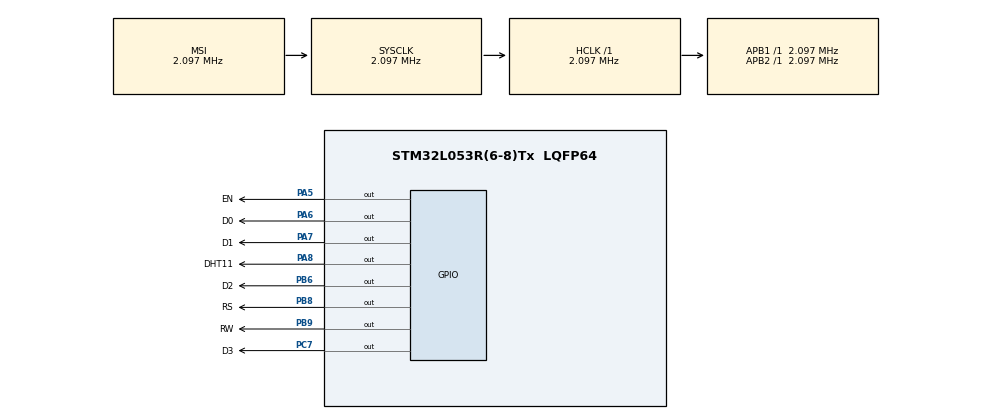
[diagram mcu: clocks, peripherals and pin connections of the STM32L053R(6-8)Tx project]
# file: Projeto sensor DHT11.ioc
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Mcu.Family=STM32L0
Mcu.Name=STM32L053R(6-8)Tx
Mcu.Package=LQFP64
PA5.GPIO_Label=EN
PA5.Signal=GPIO_Output
PA6.GPIO_Label=D0
PA6.Signal=GPIO_Output
PA7.GPIO_Label=D1
PA7.Signal=GPIO_Output
PA8.GPIO_Label=DHT11
PA8.Signal=GPIO_Output
PB6.GPIO_Label=D2
PB6.Signal=GPIO_Output
PB8.GPIO_Label=RS
PB8.Signal=GPIO_Output
PB9.GPIO_Label=RW
PB9.Signal=GPIO_Output
PC7.GPIO_Label=D3
PC7.Signal=GPIO_Output
ProjectManager.HeapSize=0x200
ProjectManager.StackSize=0x400
ProjectManager.TargetToolchain=STM32CubeIDE
RCC.AHBFreq_Value=2097000
RCC.APB1Freq_Value=2097000
RCC.APB1TimFreq_Value=2097000
RCC.APB2Freq_Value=2097000
RCC.APB2TimFreq_Value=2097000
RCC.HSE_VALUE=8000000
RCC.HSI16_VALUE=16000000
RCC.HSI48_VALUE=48000000
RCC.HSI_VALUE=16000000
RCC.MSI_VALUE=2097000
RCC.SYSCLKFreq_VALUE=2097000
RCC.VCOOutputFreq_Value=48000000
TIM6.Period=0xFFFF-1
TIM6.Prescaler=8-1
VP_TIM6_VS_ClockSourceINT.Mode=Enable_Timer
board=NUCLEO-L053R8

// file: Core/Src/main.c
/* USER CODE BEGIN Header */
/**
  ******************************************************************************
  * @file           : main.c
  * @brief          : Main program body
  ******************************************************************************
  * @attention
  *
  * Copyright (c) 2025 STMicroelectronics.
  * All rights reserved.
  *
  * This software is licensed under terms that can be found in the LICENSE file
  * in the root directory of this software component.
  * If no LICENSE file comes with this software, it is provided AS-IS.
  *
  ******************************************************************************
  */
/* USER CODE END Header */
#include "main.h"

/* USER CODE BEGIN PTD */
typedef struct{
	unsigned P0: 1,
			 P1: 1,
			 P2: 1,
			 P3: 1,
			 P4: 1,
			 P5: 1,
			 P6: 1,
			 P7: 1;
}PORT;
/* USER CODE END PTD */

TIM_HandleTypeDef htim6;

/* USER CODE BEGIN PV */
PORT bit;
uint32_t tempResult, umidResult;

/* USER CODE END PV */

void SystemClock_Config(void);
static void MX_GPIO_Init(void);
static void MX_TIM6_Init(void);
/* USER CODE BEGIN PFP */
void DHTExitSet(void);
void DHTInputSet(void);

void StartLCD(void);
void DataManager(int data, int rs);
void MessageManager(char * message);
void DHTInterpreter(void);

/* USER CODE END PFP */

int main(void)
{

  /* MCU Configuration--------------------------------------------------------*/

  /* Reset of all peripherals, Initializes the Flash interface and the Systick. */
  HAL_Init();

  /* Configure the system clock */
  SystemClock_Config();

  /* Initialize all configured peripherals */
  MX_GPIO_Init();
  MX_TIM6_Init();
  /* USER CODE BEGIN 2 */
  HAL_TIM_Base_Start(&htim6);
  StartLCD();
  /* USER CODE END 2 */

  /* Infinite loop */
  /* USER CODE BEGIN WHILE */
  while (1){
	  MessageManager("Hello world!");
      DataManager(0x80, 0);
      DHTInterpreter();

    /* USER CODE END WHILE */

  }
}

void SystemClock_Config(void)
{
  RCC_OscInitTypeDef RCC_OscInitStruct = {0};
  RCC_ClkInitTypeDef RCC_ClkInitStruct = {0};

  /** Configure the main internal regulator output voltage
  */
  __HAL_PWR_VOLTAGESCALING_CONFIG(PWR_REGULATOR_VOLTAGE_SCALE1);

  /** Initializes the RCC Oscillators according to the specified parameters
  * in the RCC_OscInitTypeDef structure.
  */
  RCC_OscInitStruct.OscillatorType = RCC_OSCILLATORTYPE_MSI;
  RCC_OscInitStruct.MSIState = RCC_MSI_ON;
  RCC_OscInitStruct.MSICalibrationValue = 0;
  RCC_OscInitStruct.MSIClockRange = RCC_MSIRANGE_5;
  RCC_OscInitStruct.PLL.PLLState = RCC_PLL_NONE;
  if (HAL_RCC_OscConfig(&RCC_OscInitStruct) != HAL_OK)
  {
    Error_Handler();
  }

  /** Initializes the CPU, AHB and APB buses clocks
  */
  RCC_ClkInitStruct.ClockType = RCC_CLOCKTYPE_HCLK|RCC_CLOCKTYPE_SYSCLK
                              |RCC_CLOCKTYPE_PCLK1|RCC_CLOCKTYPE_PCLK2;
  RCC_ClkInitStruct.SYSCLKSource = RCC_SYSCLKSOURCE_MSI;
  RCC_ClkInitStruct.AHBCLKDivider = RCC_SYSCLK_DIV1;
  RCC_ClkInitStruct.APB1CLKDivider = RCC_HCLK_DIV1;
  RCC_ClkInitStruct.APB2CLKDivider = RCC_HCLK_DIV1;

  if (HAL_RCC_ClockConfig(&RCC_ClkInitStruct, FLASH_LATENCY_0) != HAL_OK)
  {
    Error_Handler();
  }
}

static void MX_TIM6_Init(void)
{

  TIM_MasterConfigTypeDef sMasterConfig = {0};

  htim6.Instance = TIM6;
  htim6.Init.Prescaler = 8-1;
  htim6.Init.CounterMode = TIM_COUNTERMODE_UP;
  htim6.Init.Period = 0xFFFF-1;
  htim6.Init.AutoReloadPreload = TIM_AUTORELOAD_PRELOAD_DISABLE;
  if (HAL_TIM_Base_Init(&htim6) != HAL_OK)
  {
    Error_Handler();
  }
  sMasterConfig.MasterOutputTrigger = TIM_TRGO_RESET;
  sMasterConfig.MasterSlaveMode = TIM_MASTERSLAVEMODE_DISABLE;
  if (HAL_TIMEx_MasterConfigSynchronization(&htim6, &sMasterConfig) != HAL_OK)
  {
    Error_Handler();
  }

}

static void MX_GPIO_Init(void)
{
  GPIO_InitTypeDef GPIO_InitStruct = {0};

  /* GPIO Ports Clock Enable */
  __HAL_RCC_GPIOA_CLK_ENABLE();
  __HAL_RCC_GPIOC_CLK_ENABLE();
  __HAL_RCC_GPIOB_CLK_ENABLE();

  /*Configure GPIO pin Output Level */
  HAL_GPIO_WritePin(GPIOA, EN_Pin|D0_Pin|D1_Pin|DHT11_Pin, GPIO_PIN_RESET);

  /*Configure GPIO pin Output Level */
  HAL_GPIO_WritePin(D3_GPIO_Port, D3_Pin, GPIO_PIN_RESET);

  /*Configure GPIO pin Output Level */
  HAL_GPIO_WritePin(GPIOB, D2_Pin|RS_Pin|RW_Pin, GPIO_PIN_RESET);

  /*Configure GPIO pins : EN_Pin D0_Pin D1_Pin DHT11_Pin */
  GPIO_InitStruct.Pin = EN_Pin|D0_Pin|D1_Pin|DHT11_Pin;
  GPIO_InitStruct.Mode = GPIO_MODE_OUTPUT_PP;
  GPIO_InitStruct.Pull = GPIO_NOPULL;
  GPIO_InitStruct.Speed = GPIO_SPEED_FREQ_LOW;
  HAL_GPIO_Init(GPIOA, &GPIO_InitStruct);

  /*Configure GPIO pin : D3_Pin */
  GPIO_InitStruct.Pin = D3_Pin;
  GPIO_InitStruct.Mode = GPIO_MODE_OUTPUT_PP;
  GPIO_InitStruct.Pull = GPIO_NOPULL;
  GPIO_InitStruct.Speed = GPIO_SPEED_FREQ_LOW;
  HAL_GPIO_Init(D3_GPIO_Port, &GPIO_InitStruct);

  /*Configure GPIO pins : D2_Pin RS_Pin RW_Pin */
  GPIO_InitStruct.Pin = D2_Pin|RS_Pin|RW_Pin;
  GPIO_InitStruct.Mode = GPIO_MODE_OUTPUT_PP;
  GPIO_InitStruct.Pull = GPIO_NOPULL;
  GPIO_InitStruct.Speed = GPIO_SPEED_FREQ_LOW;
  HAL_GPIO_Init(GPIOB, &GPIO_InitStruct);

}

/* USER CODE BEGIN 4 */
void DataManager(int data, int rs){
	bit.P0 = (data >> 0) & 1;
	bit.P1 = (data >> 1) & 1;
	bit.P2 = (data >> 2) & 1;
	bit.P3 = (data >> 3) & 1;
	bit.P4 = (data >> 4) & 1;
	bit.P5 = (data >> 5) & 1;
	bit.P6 = (data >> 6) & 1;
	bit.P7 = (data >> 7) & 1;

	HAL_GPIO_WritePin(RS_GPIO_Port, RS_Pin, rs);
	HAL_GPIO_WritePin(RW_GPIO_Port, RW_Pin, RESET);

	HAL_GPIO_WritePin(D0_GPIO_Port, D0_Pin, bit.P4);
	HAL_GPIO_WritePin(D1_GPIO_Port, D1_Pin, bit.P5);
	HAL_GPIO_WritePin(D2_GPIO_Port, D2_Pin, bit.P6);
	HAL_GPIO_WritePin(D3_GPIO_Port, D3_Pin, bit.P7);

	HAL_Delay(1);
	HAL_GPIO_TogglePin(EN_GPIO_Port, EN_Pin);
	HAL_Delay(1);
	HAL_GPIO_TogglePin(EN_GPIO_Port, EN_Pin);

	HAL_GPIO_WritePin(D0_GPIO_Port, D0_Pin, bit.P0);
	HAL_GPIO_WritePin(D1_GPIO_Port, D1_Pin, bit.P1);
	HAL_GPIO_WritePin(D2_GPIO_Port, D2_Pin, bit.P2);
	HAL_GPIO_WritePin(D3_GPIO_Port, D3_Pin, bit.P3);

	HAL_Delay(1);
	HAL_GPIO_TogglePin(EN_GPIO_Port, EN_Pin);
	HAL_Delay(1);
	HAL_GPIO_TogglePin(EN_GPIO_Port, EN_Pin);
}

void StartLCD(void){
	HAL_Delay(20);
	DataManager(0x33, 0);
	DataManager(0x32, 0);

	DataManager(0x28, 0);

	DataManager(0x0C, 0);
	DataManager(0x06, 0);
	DataManager(0x01, 0);

	HAL_Delay(2);
}

void MessageManager(char * message){
	for (int i = 0; message[i] != '\0'; ++i){
		DataManager(message[i], 1);
	}
}

/*--------------------------------------------*/
/*   			DHT 11 CODE					  */
/*--------------------------------------------*/

// Interpretador de DHT11
void DHTInterpreter(void){
	uint16_t read[2], data[42], tmph = 0, umidh = 0;
	uint8_t  bits[40];

	HAL_Delay(500);

	// Definição de pino como saida --> entrada.
	DHTExitSet();
	DHTInputSet();

	// Zerando temporizador.
	__HAL_TIM_SET_COUNTER(&htim6, 0);

	// Lendo valores do sinal.
	for (int i = 0; i < 42; ++i){
		while(!HAL_GPIO_ReadPin(DHT11_GPIO_Port, DHT11_Pin)) read[0] = __HAL_TIM_GET_COUNTER(&htim6);
		while( HAL_GPIO_ReadPin(DHT11_GPIO_Port, DHT11_Pin)) read[1] = __HAL_TIM_GET_COUNTER(&htim6);

		data[i] = read[1] - read[0];
	}

	// Definição de bits com base no tempo.
	for (int i = 0; i < 40; ++i){
		if 	    ((data[i + 2] >= 20) && (data[i + 2] <= 32)) bits[i] = 0;
		else if ((data[i + 2 >= 65]) && (data[i + 2] <= 75)) bits[i] = 1;
	}

	// Calculo.
	for (int i = 0; i < 8; ++i){
		tmph  += bits[i + 16] << (7 - i);
		umidh += bits[i] 	  << (7 - i);
	}

	// Atribuição.
	tempResult = tmph;
	umidResult = umidh;
}

// Definição de pino como saida.
void DHTExitSet(void){
	GPIO_InitTypeDef GPIO_InitStruct = {0};
	GPIO_InitStruct.Pin = DHT11_Pin;
	GPIO_InitStruct.Mode = GPIO_MODE_OUTPUT_PP; // Setando pino como modo de saida.
	GPIO_InitStruct.Pull = GPIO_NOPULL;
	GPIO_InitStruct.Speed = GPIO_SPEED_FREQ_VERY_HIGH;
	HAL_GPIO_Init(DHT11_GPIO_Port, &GPIO_InitStruct);

	// Enviando informação para inicialização da comunicação.
	HAL_GPIO_WritePin(DHT11_GPIO_Port, DHT11_Pin, GPIO_PIN_RESET);
	HAL_Delay(20);
	HAL_GPIO_WritePin(DHT11_GPIO_Port, DHT11_Pin, GPIO_PIN_SET);

}

// Definição de pino como entrada.
void DHTInputSet(void){
	GPIO_InitTypeDef GPIO_InitStruct = {0};
	GPIO_InitStruct.Pin = DHT11_Pin;
	GPIO_InitStruct.Mode = GPIO_MODE_INPUT; // Setando pino como modo de entrada.
	GPIO_InitStruct.Pull = GPIO_NOPULL;
	GPIO_InitStruct.Speed = GPIO_SPEED_FREQ_VERY_HIGH;
	HAL_GPIO_Init(DHT11_GPIO_Port, &GPIO_InitStruct);
}
/*--------------------------------------------*/

/* USER CODE END 4 */

void Error_Handler(void)
{
  __disable_irq();
  while (1)
  {
  }
}
